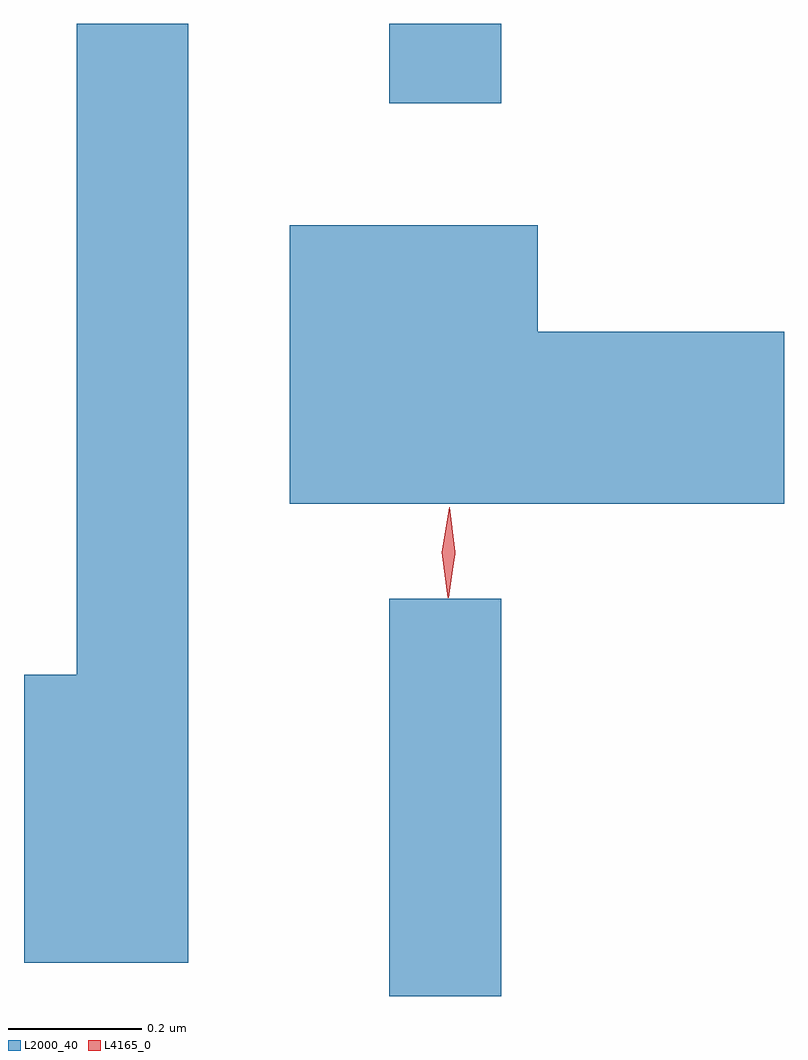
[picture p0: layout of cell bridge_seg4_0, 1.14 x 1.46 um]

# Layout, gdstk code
import gdstk
lib = gdstk.Library(unit=1e-6, precision=1e-09)
def R(c, l, rs):  # rectangles x0, y0, x1, y1
    for r in rs: c.add(gdstk.rectangle(r[:2], r[2:], *l))
def P(c, l, *ps):  # polygons
    for p in ps: c.add(gdstk.Polygon(p, *l))
L2000_40 = (2000, 40)
L4165_0 = (4165, 0)

bridge_seg4_0 = lib.new_cell('bridge_seg4_0')
R(bridge_seg4_0, L2000_40, [(1170.611,1390.611,1170.779,1391.208), (1170.611,1391.953,1170.779,1392.072)])
P(bridge_seg4_0, L2000_40, [(1170.309,1392.072),(1170.141,1392.072),(1170.141,1391.094),(1170.062,1391.094),(1170.062,1390.661),(1170.309,1390.661)],
  [(1171.204,1391.609),(1170.834,1391.609),(1170.834,1391.769),(1170.461,1391.769),(1170.461,1391.351),(1171.204,1391.351)])
P(bridge_seg4_0, L4165_0, [(1170.699,1391.21),(1170.69,1391.278),(1170.701,1391.346),(1170.701,1391.346),(1170.702,1391.346),(1170.71,1391.278),(1170.7,1391.21),(1170.7,1391.21)],
  [(1170.7,1391.213),(1170.699,1391.214),(1170.691,1391.276),(1170.701,1391.339),(1170.702,1391.34),(1170.702,1391.339),(1170.71,1391.276),(1170.7,1391.214)])

lib.write_gds('bridge_seg4_0.gds')
